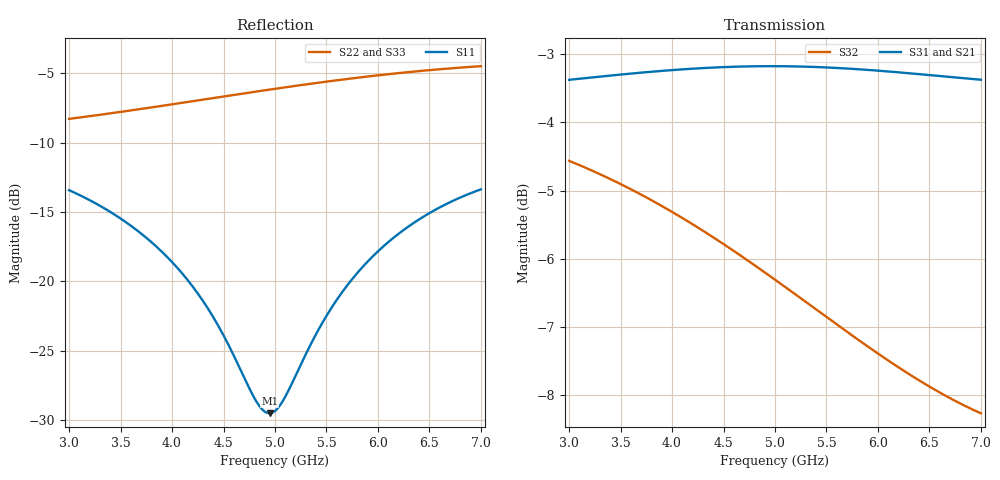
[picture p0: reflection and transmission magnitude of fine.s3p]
! yapnr rf: divider-osh-m-star-m-eq-em528-fwd, footprint re-simulated (refine 2)
! spec sha256 a6c9cba661ca0dbccc1f7d9229f05d41a04f69e623f1cdef836865e2462231a1
! 3 ports renormalized to 50 ohm, e^(+jwt) convention
# GHz S RI R 50
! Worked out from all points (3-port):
!   161 points, 3 GHz to 7 GHz, reference 50 ohm
!   strongest paths, dB at 3 GHz, 4 GHz, 5 GHz, 6 GHz, 7 GHz:
!     S31: -3.4, -3.2, -3.2, -3.2, -3.4
!     S21: -3.4, -3.2, -3.2, -3.2, -3.4
!     S32: -4.6, -5.3, -6.3, -7.4, -8.3
!   lowest |S11| = -29.5 dB at 4.95 GHz (marker M1), VSWR 1.07, Z = 46.8 + j0.342 ohm
!   |S11| at or under -10 dB: start of sweep to end of sweep
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3  -0.1477 0.1537  0.0844 -0.6728  0.0844 -0.6728
   0.0843 -0.6728  0.0748 0.3779  -0.1725 -0.5657
   0.0843 -0.6728  -0.1725 -0.5657  0.0748 0.3779
4.05  -0.0571 0.0963  -0.2699 -0.6348  -0.2699 -0.6348
      -0.2699 -0.6347  0.328 0.2896  -0.4322 -0.3234
      -0.2699 -0.6347  -0.4322 -0.3234  0.328 0.2896
4.4  -0.0397 0.0628  -0.3796 -0.5789  -0.3796 -0.5789
     -0.3795 -0.5789  0.4 0.223  -0.4706 -0.2209
     -0.3795 -0.5789  -0.4706 -0.2209  0.4 0.223
4.825  -0.0322 0.0173  -0.4967 -0.4844  -0.4967 -0.4844
       -0.4967 -0.4843  0.4685 0.1207  -0.4848 -0.0977
       -0.4967 -0.4843  -0.4848 -0.0977  0.4685 0.1207
4.95  -0.0332 0.00365  -0.5268 -0.4516  -0.5268 -0.4516
      -0.5267 -0.4516  0.4837 0.0869  -0.4829 -0.0631
      -0.5267 -0.4516  -0.4829 -0.0631  0.4837 0.0869
5  -0.034 -0.00175  -0.5382 -0.438  -0.5382 -0.438
   -0.5381 -0.4379  0.4891 0.0729  -0.4814 -0.0496
   -0.5381 -0.4379  -0.4814 -0.0496  0.4891 0.0729
5.5  -0.0546 -0.0515  -0.6302 -0.2867  -0.6302 -0.2867
     -0.6302 -0.2866  0.5195 -0.0748  -0.4485 0.0736
     -0.6302 -0.2866  -0.4485 0.0736  0.5195 -0.0748
5.875  -0.0832 -0.0797  -0.6707 -0.1612  -0.6707 -0.1612
       -0.6706 -0.1611  0.5124 -0.1896  -0.4072 0.1495
       -0.6706 -0.1611  -0.4072 0.1495  0.5124 -0.1896
6.375  -0.1326 -0.0982  -0.6848 0.0114  -0.6848 0.0114
       -0.6847 0.0114  0.4634 -0.3351  -0.3401 0.228
       -0.6847 0.0114  -0.3401 0.228  0.4634 -0.3351
7  -0.197 -0.085  -0.6422 0.2181  -0.6422 0.2181
   -0.642 0.2182  0.3482 -0.4847  -0.2489 0.2954
   -0.642 0.2182  -0.2489 0.2954  0.3482 -0.4847
